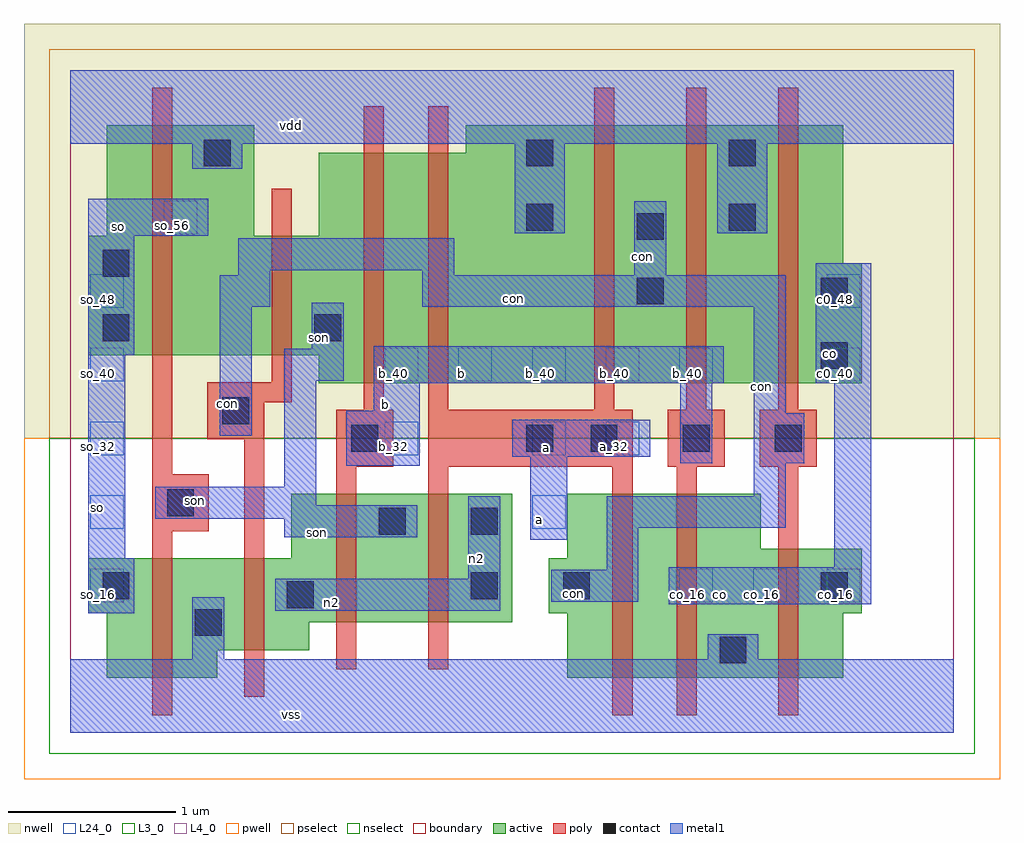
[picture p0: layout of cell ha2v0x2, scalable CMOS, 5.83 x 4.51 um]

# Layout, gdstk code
import gdstk
lib = gdstk.Library(unit=1e-6, precision=2.5e-09)
def R(c, l, rs):  # rectangles x0, y0, x1, y1
    for r in rs: c.add(gdstk.rectangle(r[:2], r[2:], *l))
def A(c, l, x, y, w, h, nx, ny, dx, dy):  # array of equal rectangles
    R(c, l, [(x+i*dx, y+j*dy, x+i*dx+w, y+j*dy+h) for i in range(nx) for j in range(ny)])
L3_0 = (3, 0)
L4_0 = (4, 0)
L24_0 = (24, 0)
contact = (25, 0)
pwell = (41, 0)
nwell = (42, 0)
active = (43, 0)
pselect = (44, 0)
nselect = (45, 0)
poly = (46, 0)
metal1 = (49, 0)
boundary = (63, 0)

ha2v0x2 = lib.new_cell('ha2v0x2')
R(ha2v0x2, L3_0, [(0.22,0.33,0.88,0.495), (2.97,0.33,4.62,0.715), (0.22,0.495,1.43,0.66), (0.22,0.66,2.64,0.715), (0.11,0.715,2.64,1.045), (2.86,0.715,4.73,1.045), (1.32,1.045,2.64,1.43), (2.97,1.045,4.73,1.1), (2.97,1.1,4.125,1.43)])
R(ha2v0x2, L4_0, [(1.485,2.09,4.73,2.255), (0.11,2.255,4.73,2.805), (0.11,2.805,4.62,2.97), (0.22,2.97,1.1,3.63), (1.485,2.97,4.62,3.465), (2.365,3.465,4.62,3.63)])
A(ha2v0x2, L24_0, 0.12, 0.78, 0.2, 0.2, 1, 5, 0, 0.44)
A(ha2v0x2, L24_0, 3.64, 0.78, 0.2, 0.2, 3, 1, 0.44, 0)
A(ha2v0x2, L24_0, 1.88, 2.1, 0.2, 0.2, 5, 1, 0.44, 0)
R(ha2v0x2, L24_0, [(2.76,1.22,2.96,1.42), (1.88,1.66,2.08,1.86), (2.76,1.66,2.96,1.86), (3.2,1.66,3.4,1.86), (4.52,2.1,4.72,2.3), (4.52,2.54,4.72,2.74), (0.56,2.98,0.76,3.18)])
A(ha2v0x2, contact, 3.11, 1.68, 0.16, 0.16, 3, 1, 0.55, 0)
R(ha2v0x2, contact, [(3.88,0.415,4.04,0.575), (0.745,0.58,0.905,0.74), (1.295,0.745,1.455,0.905), (0.195,0.8,0.355,0.96), (2.395,0.8,2.555,0.96), (2.945,0.8,3.105,0.96), (4.485,0.8,4.645,0.96), (1.845,1.185,2.005,1.345), (2.395,1.185,2.555,1.345), (0.58,1.295,0.74,1.455), (1.68,1.68,1.84,1.84), (2.725,1.68,2.885,1.84), (0.91,1.845,1.07,2.005), (4.485,2.175,4.645,2.335), (0.195,2.34,0.355,2.5), (1.46,2.34,1.62,2.5), (3.385,2.56,3.545,2.72), (4.485,2.56,4.645,2.72), (0.195,2.725,0.355,2.885), (3.385,2.945,3.545,3.105), (2.725,3,2.885,3.16), (3.935,3,4.095,3.16), (0.8,3.385,0.96,3.545), (2.725,3.385,2.885,3.545), (3.935,3.385,4.095,3.545)])
R(ha2v0x2, pwell, [(-0.275,-0.275,5.555,1.76)])
R(ha2v0x2, nwell, [(-0.275,1.76,5.555,4.235)])
R(ha2v0x2, active, [(0.22,0.33,0.88,0.495), (2.97,0.33,4.62,0.715), (0.22,0.495,1.43,0.66), (0.22,0.66,2.64,0.715), (0.11,0.715,2.64,1.045), (2.86,0.715,4.73,1.045), (1.32,1.045,2.64,1.43), (2.97,1.045,4.73,1.1), (2.97,1.1,4.125,1.43), (1.485,2.09,4.73,2.255), (0.11,2.255,4.73,2.805), (0.11,2.805,4.62,2.97), (0.22,2.97,1.1,3.63), (1.485,2.97,4.62,3.465), (2.365,3.465,4.62,3.63)])
R(ha2v0x2, pselect, [(-0.125,1.76,5.405,4.085)])
R(ha2v0x2, nselect, [(-0.125,-0.125,5.405,1.76)])
A(ha2v0x2, poly, 3.13, 1.93, 0.12, 1.925, 3, 1, 0.55, 0)
R(ha2v0x2, poly, [(0.49,0.105,0.61,1.205), (3.24,0.105,3.36,1.59), (3.625,0.105,3.745,1.59), (4.23,0.105,4.35,1.59), (1.04,0.215,1.16,1.755), (1.59,0.38,1.71,1.59), (2.14,0.38,2.26,1.59), (0.49,1.205,0.83,1.545), (0.49,1.545,0.61,3.855), (1.59,1.59,1.93,1.93), (2.14,1.59,3.36,1.93), (3.57,1.59,3.91,1.93), (4.12,1.59,4.46,1.93), (0.82,1.755,1.16,1.975), (1.755,1.93,1.875,3.745), (2.14,1.93,2.26,3.745), (0.82,1.975,1.325,2.095), (1.205,2.095,1.325,3.25)])
R(ha2v0x2, metal1, [(0,0,5.28,0.44), (0.73,0.44,0.92,0.81), (3.81,0.44,4.11,0.59), (0.11,0.715,0.385,1.045), (1.225,0.73,2.57,0.92), (3.575,0.77,4.785,0.99), (2.875,0.785,3.395,0.975), (2.38,0.92,2.57,1.415), (3.205,0.975,3.395,1.225), (4.565,0.99,4.785,2.09), (0.11,1.045,0.33,2.255), (2.75,1.155,2.97,1.65), (1.28,1.17,2.075,1.28), (3.205,1.225,4.275,1.415), (0.51,1.28,2.075,1.36), (0.51,1.36,1.47,1.47), (4.085,1.415,4.275,1.61), (1.28,1.47,1.47,2.105), (1.65,1.595,2.09,1.925), (3.645,1.61,3.835,2.09), (4.085,1.61,4.385,1.91), (2.64,1.65,3.465,1.87), (0.895,1.775,1.085,2.545), (4.085,1.91,4.275,2.545), (1.815,1.925,2.09,2.09), (1.815,2.09,3.905,2.31), (4.455,2.09,4.785,2.805), (1.28,2.105,1.635,2.295), (0.11,2.255,0.385,2.97), (1.445,2.295,1.635,2.57), (0.895,2.545,1.195,2.735), (2.105,2.545,4.275,2.735), (1.005,2.735,1.195,2.765), (2.105,2.735,2.295,2.765), (3.37,2.735,3.56,3.175), (1.005,2.765,2.295,2.955), (0.11,2.97,0.825,3.19), (2.655,2.985,2.955,3.52), (3.865,2.985,4.165,3.52), (0.73,3.37,1.03,3.52), (0,3.52,5.28,3.96)])
R(ha2v0x2, boundary, [(0,0,5.28,3.96)])
ha2v0x2.add(gdstk.Label('vss', (1.32,0.11), layer=49, texttype=0))
ha2v0x2.add(gdstk.Label('co', (3.8775,0.825), layer=49, texttype=0))
ha2v0x2.add(gdstk.Label('con', (3.005,0.8325), layer=49, texttype=0))
ha2v0x2.add(gdstk.Label('n2', (1.56,0.7775), layer=49, texttype=0))
ha2v0x2.add(gdstk.Label('co', (4.5375,2.2675), layer=49, texttype=0))
ha2v0x2.add(gdstk.Label('con', (4.1325,2.0675), layer=49, texttype=0))
ha2v0x2.add(gdstk.Label('a', (2.805,1.2775), layer=49, texttype=0))
ha2v0x2.add(gdstk.Label('n2', (2.4275,1.0425), layer=49, texttype=0))
ha2v0x2.add(gdstk.Label('son', (1.4775,1.1975), layer=49, texttype=0))
ha2v0x2.add(gdstk.Label('son', (0.75,1.3875), layer=49, texttype=0))
ha2v0x2.add(gdstk.Label('a', (2.845,1.705), layer=49, texttype=0))
ha2v0x2.add(gdstk.Label('b', (1.8825,1.965), layer=49, texttype=0))
ha2v0x2.add(gdstk.Label('b', (2.3375,2.145), layer=49, texttype=0))
ha2v0x2.add(gdstk.Label('con', (2.6475,2.5925), layer=49, texttype=0))
ha2v0x2.add(gdstk.Label('son', (1.4925,2.3625), layer=49, texttype=0))
ha2v0x2.add(gdstk.Label('con', (0.9425,1.9675), layer=49, texttype=0))
ha2v0x2.add(gdstk.Label('so', (0.165,1.3475), layer=49, texttype=0))
ha2v0x2.add(gdstk.Label('con', (3.4175,2.845), layer=49, texttype=0))
ha2v0x2.add(gdstk.Label('so', (0.2875,3.025), layer=49, texttype=0))
ha2v0x2.add(gdstk.Label('vdd', (1.32,3.63), layer=49, texttype=0))
ha2v0x2.add(gdstk.Label('co_16', (4.57,0.83), layer=24, texttype=0))
ha2v0x2.add(gdstk.Label('co_16', (4.13,0.83), layer=24, texttype=0))
ha2v0x2.add(gdstk.Label('a_24', (2.81,1.27), layer=24, texttype=0))
ha2v0x2.add(gdstk.Label('b_32', (1.93,1.71), layer=24, texttype=0))
ha2v0x2.add(gdstk.Label('b_40', (2.37,2.15), layer=24, texttype=0))
ha2v0x2.add(gdstk.Label('b_40', (3.69,2.15), layer=24, texttype=0))
ha2v0x2.add(gdstk.Label('b_40', (3.25,2.15), layer=24, texttype=0))
ha2v0x2.add(gdstk.Label('b_40', (2.81,2.15), layer=24, texttype=0))
ha2v0x2.add(gdstk.Label('a_32', (3.25,1.71), layer=24, texttype=0))
ha2v0x2.add(gdstk.Label('a_32', (2.81,1.71), layer=24, texttype=0))
ha2v0x2.add(gdstk.Label('so_48', (0.17,2.59), layer=24, texttype=0))
ha2v0x2.add(gdstk.Label('so_40', (0.17,2.15), layer=24, texttype=0))
ha2v0x2.add(gdstk.Label('so_32', (0.17,1.71), layer=24, texttype=0))
ha2v0x2.add(gdstk.Label('so_24', (0.17,1.27), layer=24, texttype=0))
ha2v0x2.add(gdstk.Label('c0_40', (4.57,2.15), layer=24, texttype=0))
ha2v0x2.add(gdstk.Label('c0_48', (4.57,2.59), layer=24, texttype=0))
ha2v0x2.add(gdstk.Label('so_16', (0.17,0.83), layer=24, texttype=0))
ha2v0x2.add(gdstk.Label('so_56', (0.61,3.03), layer=24, texttype=0))
ha2v0x2.add(gdstk.Label('b_40', (1.93,2.15), layer=24, texttype=0))
ha2v0x2.add(gdstk.Label('co_16', (3.69,0.83), layer=24, texttype=0))

lib.write_gds('ha2v0x2.gds')
